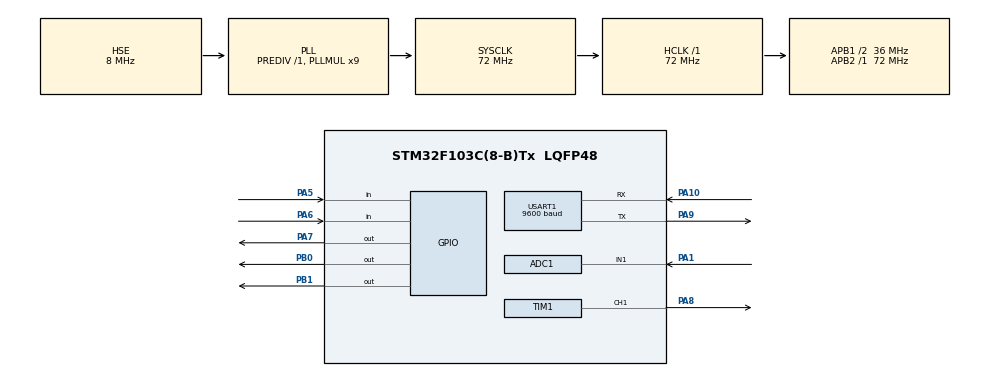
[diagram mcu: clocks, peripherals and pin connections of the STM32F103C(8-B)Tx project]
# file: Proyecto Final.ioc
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ADC1.Channel-1\#ChannelRegularConversion=ADC_CHANNEL_1
ADC1.ContinuousConvMode=ENABLE
ADC1.NbrOfConversionFlag=1
ADC1.Rank-1\#ChannelRegularConversion=1
ADC1.SamplingTime-1\#ChannelRegularConversion=ADC_SAMPLETIME_239CYCLES_5
ADC1.master=1
Dma.ADC1.0.Direction=DMA_PERIPH_TO_MEMORY
Dma.ADC1.0.Instance=DMA1_Channel1
Dma.ADC1.0.MemDataAlignment=DMA_MDATAALIGN_WORD
Dma.ADC1.0.MemInc=DMA_MINC_ENABLE
Dma.ADC1.0.Mode=DMA_CIRCULAR
Dma.ADC1.0.PeriphDataAlignment=DMA_PDATAALIGN_WORD
Dma.ADC1.0.PeriphInc=DMA_PINC_DISABLE
Dma.ADC1.0.Priority=DMA_PRIORITY_LOW
Dma.Request0=ADC1
Mcu.Family=STM32F1
Mcu.Name=STM32F103C(8-B)Tx
Mcu.Package=LQFP48
NVIC.ADC1_2_IRQn=true\:0\:0\:false\:false\:true\:true\:true\:true
NVIC.DMA1_Channel1_IRQn=true\:0\:0\:false\:false\:true\:false\:true\:true
NVIC.PriorityGroup=NVIC_PRIORITYGROUP_4
NVIC.TIM2_IRQn=true\:0\:0\:false\:false\:true\:true\:true\:true
NVIC.USART1_IRQn=true\:0\:0\:false\:false\:true\:true\:true\:true
PA1.Signal=ADCx_IN1
PA10.Mode=Asynchronous
PA10.Signal=USART1_RX
PA5.Signal=GPIO_Input
PA6.Signal=GPIO_Input
PA7.Signal=GPIO_Output
PA8.Signal=S_TIM1_CH1
PA9.Mode=Asynchronous
PA9.Signal=USART1_TX
PB0.Signal=GPIO_Output
PB1.Signal=GPIO_Output
PD0-OSC_IN.Mode=HSE-External-Oscillator
PD0-OSC_IN.Signal=RCC_OSC_IN
PD1-OSC_OUT.Mode=HSE-External-Oscillator
PD1-OSC_OUT.Signal=RCC_OSC_OUT
ProjectManager.HeapSize=0x200
ProjectManager.StackSize=0x400
ProjectManager.TargetToolchain=STM32CubeIDE
RCC.ADCPresc=RCC_ADCPCLK2_DIV6
RCC.AHBFreq_Value=72000000
RCC.APB1CLKDivider=RCC_HCLK_DIV2
RCC.APB1Freq_Value=36000000
RCC.APB1TimFreq_Value=72000000
RCC.APB2Freq_Value=72000000
RCC.APB2TimFreq_Value=72000000
RCC.HCLKFreq_Value=72000000
RCC.PLLMUL=RCC_PLL_MUL9
RCC.PLLSourceVirtual=RCC_PLLSOURCE_HSE
RCC.SYSCLKFreq_VALUE=72000000
RCC.SYSCLKSource=RCC_SYSCLKSOURCE_PLLCLK
RCC.USBFreq_Value=72000000
SH.ADCx_IN1.0=ADC1_IN1,IN1
SH.S_TIM1_CH1.0=TIM1_CH1,PWM Generation1 CH1
TIM1.Channel-PWM\ Generation1\ CH1=TIM_CHANNEL_1
TIM2.AutoReloadPreload=TIM_AUTORELOAD_PRELOAD_ENABLE
TIM2.Period=200
TIM2.Prescaler=35999
USART1.BaudRate=9600
USART1.VirtualMode=VM_ASYNC
VP_TIM1_VS_ClockSourceINT.Mode=Internal
VP_TIM2_VS_ClockSourceINT.Mode=Internal
board=custom

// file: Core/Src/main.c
/* USER CODE BEGIN Header */
/**
  ******************************************************************************
  * @file           : main.c
  * @brief          : Main program body
  ******************************************************************************
  * @attention
  *
  * Copyright (c) 2023 STMicroelectronics.
  * All rights reserved.
  *
  * This software is licensed under terms that can be found in the LICENSE file
  * in the root directory of this software component.
  * If no LICENSE file comes with this software, it is provided AS-IS.
  *
  ******************************************************************************
  */
/* USER CODE END Header */
#include "main.h"

/* USER CODE BEGIN Includes */

#include <stdio.h>
#include <string.h>

/* USER CODE END Includes */

ADC_HandleTypeDef hadc1;
DMA_HandleTypeDef hdma_adc1;

TIM_HandleTypeDef htim1;
TIM_HandleTypeDef htim2;

UART_HandleTypeDef huart1;

/* USER CODE BEGIN PV */
uint32_t valoradc;
int PuertaAbierta;  //Dice el estado de La Puerta
int ParadaDeEmergencia; //Dice el estado de la Parada de Emergencia
int Led;
char enviarDatos[25]; //Cadena para mandar por puerto serial
int temRequerida[3];  //Pasa la temperatura a un char para poder trabajarla
uint8_t dataserial2[4]; //este vector recibe los datos por el puerto serie
char buffer[100];

/* USER CODE END PV */

void SystemClock_Config(void);
static void MX_GPIO_Init(void);
static void MX_DMA_Init(void);
static void MX_ADC1_Init(void);
static void MX_TIM2_Init(void);
static void MX_USART1_UART_Init(void);
static void MX_TIM1_Init(void);
/* USER CODE BEGIN PFP */

void mandarDatos();
void recibirDatos();
void resistencia();
int power(int, int);
int conversor(char[]);

//void HAL_UART_ReadString(UART_HandleTypeDef *huart, char* buf_rx, uint16_t st_size);
/* USER CODE END PFP */

int main(void)
{

  /* MCU Configuration--------------------------------------------------------*/

  /* Reset of all peripherals, Initializes the Flash interface and the Systick. */
  HAL_Init();

  /* Configure the system clock */
  SystemClock_Config();

  /* Initialize all configured peripherals */
  MX_GPIO_Init();
  MX_DMA_Init();
  MX_ADC1_Init();
  MX_TIM2_Init();
  MX_USART1_UART_Init();
  MX_TIM1_Init();
  /* USER CODE BEGIN 2 */

  HAL_ADC_Start_DMA(&hadc1, &valoradc, 1);
  HAL_TIM_Base_Start_IT(&htim2);
  HAL_TIM_PWM_Start(&htim1, TIM_CHANNEL_1);
  TIM1->CCR1 =30000;

  /* USER CODE END 2 */

  /* Infinite loop */
  /* USER CODE BEGIN WHILE */
  HAL_UART_Receive_IT(&huart1, dataserial2, 4);
  while (1)
  {
    /* USER CODE END WHILE */

  }
}

void SystemClock_Config(void)
{
  RCC_OscInitTypeDef RCC_OscInitStruct = {0};
  RCC_ClkInitTypeDef RCC_ClkInitStruct = {0};
  RCC_PeriphCLKInitTypeDef PeriphClkInit = {0};

  /** Initializes the RCC Oscillators according to the specified parameters
  * in the RCC_OscInitTypeDef structure.
  */
  RCC_OscInitStruct.OscillatorType = RCC_OSCILLATORTYPE_HSE;
  RCC_OscInitStruct.HSEState = RCC_HSE_ON;
  RCC_OscInitStruct.HSEPredivValue = RCC_HSE_PREDIV_DIV1;
  RCC_OscInitStruct.HSIState = RCC_HSI_ON;
  RCC_OscInitStruct.PLL.PLLState = RCC_PLL_ON;
  RCC_OscInitStruct.PLL.PLLSource = RCC_PLLSOURCE_HSE;
  RCC_OscInitStruct.PLL.PLLMUL = RCC_PLL_MUL9;
  if (HAL_RCC_OscConfig(&RCC_OscInitStruct) != HAL_OK)
  {
    Error_Handler();
  }

  /** Initializes the CPU, AHB and APB buses clocks
  */
  RCC_ClkInitStruct.ClockType = RCC_CLOCKTYPE_HCLK|RCC_CLOCKTYPE_SYSCLK
                              |RCC_CLOCKTYPE_PCLK1|RCC_CLOCKTYPE_PCLK2;
  RCC_ClkInitStruct.SYSCLKSource = RCC_SYSCLKSOURCE_PLLCLK;
  RCC_ClkInitStruct.AHBCLKDivider = RCC_SYSCLK_DIV1;
  RCC_ClkInitStruct.APB1CLKDivider = RCC_HCLK_DIV2;
  RCC_ClkInitStruct.APB2CLKDivider = RCC_HCLK_DIV1;

  if (HAL_RCC_ClockConfig(&RCC_ClkInitStruct, FLASH_LATENCY_2) != HAL_OK)
  {
    Error_Handler();
  }
  PeriphClkInit.PeriphClockSelection = RCC_PERIPHCLK_ADC;
  PeriphClkInit.AdcClockSelection = RCC_ADCPCLK2_DIV6;
  if (HAL_RCCEx_PeriphCLKConfig(&PeriphClkInit) != HAL_OK)
  {
    Error_Handler();
  }
}

static void MX_ADC1_Init(void)
{

  ADC_ChannelConfTypeDef sConfig = {0};

  /** Common config
  */
  hadc1.Instance = ADC1;
  hadc1.Init.ScanConvMode = ADC_SCAN_DISABLE;
  hadc1.Init.ContinuousConvMode = ENABLE;
  hadc1.Init.DiscontinuousConvMode = DISABLE;
  hadc1.Init.ExternalTrigConv = ADC_SOFTWARE_START;
  hadc1.Init.DataAlign = ADC_DATAALIGN_RIGHT;
  hadc1.Init.NbrOfConversion = 1;
  if (HAL_ADC_Init(&hadc1) != HAL_OK)
  {
    Error_Handler();
  }

  /** Configure Regular Channel
  */
  sConfig.Channel = ADC_CHANNEL_1;
  sConfig.Rank = ADC_REGULAR_RANK_1;
  sConfig.SamplingTime = ADC_SAMPLETIME_239CYCLES_5;
  if (HAL_ADC_ConfigChannel(&hadc1, &sConfig) != HAL_OK)
  {
    Error_Handler();
  }

}

static void MX_TIM1_Init(void)
{

  TIM_ClockConfigTypeDef sClockSourceConfig = {0};
  TIM_MasterConfigTypeDef sMasterConfig = {0};
  TIM_OC_InitTypeDef sConfigOC = {0};
  TIM_BreakDeadTimeConfigTypeDef sBreakDeadTimeConfig = {0};

  htim1.Instance = TIM1;
  htim1.Init.Prescaler = 0;
  htim1.Init.CounterMode = TIM_COUNTERMODE_UP;
  htim1.Init.Period = 65535;
  htim1.Init.ClockDivision = TIM_CLOCKDIVISION_DIV1;
  htim1.Init.RepetitionCounter = 0;
  htim1.Init.AutoReloadPreload = TIM_AUTORELOAD_PRELOAD_DISABLE;
  if (HAL_TIM_Base_Init(&htim1) != HAL_OK)
  {
    Error_Handler();
  }
  sClockSourceConfig.ClockSource = TIM_CLOCKSOURCE_INTERNAL;
  if (HAL_TIM_ConfigClockSource(&htim1, &sClockSourceConfig) != HAL_OK)
  {
    Error_Handler();
  }
  if (HAL_TIM_PWM_Init(&htim1) != HAL_OK)
  {
    Error_Handler();
  }
  sMasterConfig.MasterOutputTrigger = TIM_TRGO_RESET;
  sMasterConfig.MasterSlaveMode = TIM_MASTERSLAVEMODE_DISABLE;
  if (HAL_TIMEx_MasterConfigSynchronization(&htim1, &sMasterConfig) != HAL_OK)
  {
    Error_Handler();
  }
  sConfigOC.OCMode = TIM_OCMODE_PWM1;
  sConfigOC.Pulse = 0;
  sConfigOC.OCPolarity = TIM_OCPOLARITY_HIGH;
  sConfigOC.OCNPolarity = TIM_OCNPOLARITY_HIGH;
  sConfigOC.OCFastMode = TIM_OCFAST_DISABLE;
  sConfigOC.OCIdleState = TIM_OCIDLESTATE_RESET;
  sConfigOC.OCNIdleState = TIM_OCNIDLESTATE_RESET;
  if (HAL_TIM_PWM_ConfigChannel(&htim1, &sConfigOC, TIM_CHANNEL_1) != HAL_OK)
  {
    Error_Handler();
  }
  sBreakDeadTimeConfig.OffStateRunMode = TIM_OSSR_DISABLE;
  sBreakDeadTimeConfig.OffStateIDLEMode = TIM_OSSI_DISABLE;
  sBreakDeadTimeConfig.LockLevel = TIM_LOCKLEVEL_OFF;
  sBreakDeadTimeConfig.DeadTime = 0;
  sBreakDeadTimeConfig.BreakState = TIM_BREAK_DISABLE;
  sBreakDeadTimeConfig.BreakPolarity = TIM_BREAKPOLARITY_HIGH;
  sBreakDeadTimeConfig.AutomaticOutput = TIM_AUTOMATICOUTPUT_DISABLE;
  if (HAL_TIMEx_ConfigBreakDeadTime(&htim1, &sBreakDeadTimeConfig) != HAL_OK)
  {
    Error_Handler();
  }
  HAL_TIM_MspPostInit(&htim1);

}

static void MX_TIM2_Init(void)
{

  TIM_ClockConfigTypeDef sClockSourceConfig = {0};
  TIM_MasterConfigTypeDef sMasterConfig = {0};

  htim2.Instance = TIM2;
  htim2.Init.Prescaler = 35999;
  htim2.Init.CounterMode = TIM_COUNTERMODE_UP;
  htim2.Init.Period = 200;
  htim2.Init.ClockDivision = TIM_CLOCKDIVISION_DIV1;
  htim2.Init.AutoReloadPreload = TIM_AUTORELOAD_PRELOAD_ENABLE;
  if (HAL_TIM_Base_Init(&htim2) != HAL_OK)
  {
    Error_Handler();
  }
  sClockSourceConfig.ClockSource = TIM_CLOCKSOURCE_INTERNAL;
  if (HAL_TIM_ConfigClockSource(&htim2, &sClockSourceConfig) != HAL_OK)
  {
    Error_Handler();
  }
  sMasterConfig.MasterOutputTrigger = TIM_TRGO_RESET;
  sMasterConfig.MasterSlaveMode = TIM_MASTERSLAVEMODE_DISABLE;
  if (HAL_TIMEx_MasterConfigSynchronization(&htim2, &sMasterConfig) != HAL_OK)
  {
    Error_Handler();
  }

}

static void MX_USART1_UART_Init(void)
{

  huart1.Instance = USART1;
  huart1.Init.BaudRate = 9600;
  huart1.Init.WordLength = UART_WORDLENGTH_8B;
  huart1.Init.StopBits = UART_STOPBITS_1;
  huart1.Init.Parity = UART_PARITY_NONE;
  huart1.Init.Mode = UART_MODE_TX_RX;
  huart1.Init.HwFlowCtl = UART_HWCONTROL_NONE;
  huart1.Init.OverSampling = UART_OVERSAMPLING_16;
  if (HAL_UART_Init(&huart1) != HAL_OK)
  {
    Error_Handler();
  }

}

static void MX_DMA_Init(void)
{

  /* DMA controller clock enable */
  __HAL_RCC_DMA1_CLK_ENABLE();

  /* DMA interrupt init */
  /* DMA1_Channel1_IRQn interrupt configuration */
  HAL_NVIC_SetPriority(DMA1_Channel1_IRQn, 0, 0);
  HAL_NVIC_EnableIRQ(DMA1_Channel1_IRQn);

}

static void MX_GPIO_Init(void)
{
  GPIO_InitTypeDef GPIO_InitStruct = {0};

  /* GPIO Ports Clock Enable */
  __HAL_RCC_GPIOD_CLK_ENABLE();
  __HAL_RCC_GPIOA_CLK_ENABLE();
  __HAL_RCC_GPIOB_CLK_ENABLE();

  /*Configure GPIO pin Output Level */
  HAL_GPIO_WritePin(GPIOA, GPIO_PIN_7, GPIO_PIN_RESET);

  /*Configure GPIO pin Output Level */
  HAL_GPIO_WritePin(GPIOB, GPIO_PIN_0|GPIO_PIN_1, GPIO_PIN_RESET);

  /*Configure GPIO pins : PA5 PA6 */
  GPIO_InitStruct.Pin = GPIO_PIN_5|GPIO_PIN_6;
  GPIO_InitStruct.Mode = GPIO_MODE_INPUT;
  GPIO_InitStruct.Pull = GPIO_NOPULL;
  HAL_GPIO_Init(GPIOA, &GPIO_InitStruct);

  /*Configure GPIO pin : PA7 */
  GPIO_InitStruct.Pin = GPIO_PIN_7;
  GPIO_InitStruct.Mode = GPIO_MODE_OUTPUT_PP;
  GPIO_InitStruct.Pull = GPIO_NOPULL;
  GPIO_InitStruct.Speed = GPIO_SPEED_FREQ_LOW;
  HAL_GPIO_Init(GPIOA, &GPIO_InitStruct);

  /*Configure GPIO pins : PB0 PB1 */
  GPIO_InitStruct.Pin = GPIO_PIN_0|GPIO_PIN_1;
  GPIO_InitStruct.Mode = GPIO_MODE_OUTPUT_PP;
  GPIO_InitStruct.Pull = GPIO_NOPULL;
  GPIO_InitStruct.Speed = GPIO_SPEED_FREQ_LOW;
  HAL_GPIO_Init(GPIOB, &GPIO_InitStruct);

}

/* USER CODE BEGIN 4 */

void HAL_TIM_PeriodElapsedCallback(TIM_HandleTypeDef *htim)
{

	if(htim->Instance == TIM2){
	    HAL_GPIO_TogglePin(GPIOB, GPIO_PIN_0);

	    //Toma la lectura del ADC
	    HAL_ADC_Start(&hadc1);
	    valoradc = HAL_ADC_GetValue(&hadc1);

		//mandarDatos();
		resistencia(); // Salida de la resistencia
	}
}

void mandarDatos(){
	PuertaAbierta= HAL_GPIO_ReadPin(GPIOA, GPIO_PIN_5); //Lee el estado de Puerta Abierta
	ParadaDeEmergencia = HAL_GPIO_ReadPin(GPIOA, GPIO_PIN_6); // Lee el estado de Parada de Emergencia

	sprintf(enviarDatos, "%d,%d,%lu,.\n\r", PuertaAbierta, ParadaDeEmergencia, valoradc);
	HAL_UART_Transmit_IT(&huart1, (uint8_t*)enviarDatos, strlen(enviarDatos));
}

void HAL_UART_RxCpltCallback(UART_HandleTypeDef *huart){
	//este funcion se ejecuta cuando se reciben datos
	//HAL_UART_Transmit(&huart1, dataserial2, sizeof(dataserial2), HAL_MAX_DELAY);

	sprintf(buffer, "%c%c%c", dataserial2[0], dataserial2[1], dataserial2[2]);
	int result = conversor(buffer);

	if(result == 999){
		HAL_GPIO_TogglePin(GPIOB, GPIO_PIN_1);
	}

	HAL_UART_Receive_IT(&huart1, dataserial2, 4);
}

void resistencia(){
	HAL_GPIO_TogglePin(GPIOA, GPIO_PIN_8);
	TIM1->CCR1 +=500;
}

int power(int num, int pow){
    if (pow==0){
        return 1;
    }
    else if (pow<0){
        return 0;
    }

    int result=1;
    for(int i=0; i<pow; i++){
        result *= num;
    }
    return result;
}

int conversor(char dato[]){
    int num1,num2,num3;
    int tam_num;

    tam_num = strlen(dato);

    num1 = ((int)dato[0]-48)*power(10, tam_num-1);
    num2 = ((int)dato[1]-48)*power(10, tam_num-2);
    num3 = ((int)dato[2]-48)*power(10, tam_num-3);
    //num4 = ((int)dato[3]-48)*power(10, tam_num-4);
    num1 = num1+num2+num3;
    return num1;
}

/* USER CODE END 4 */

void Error_Handler(void)
{
  __disable_irq();
  while (1)
  {
  }
}
